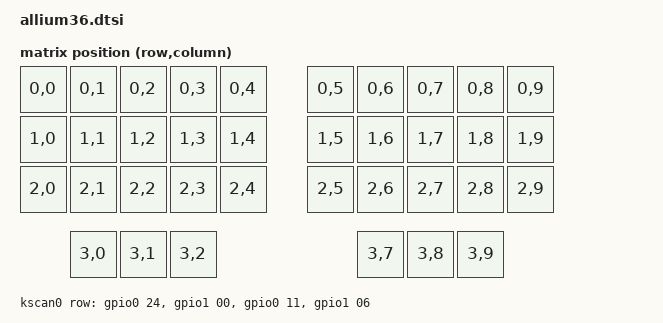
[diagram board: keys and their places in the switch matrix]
/*
 * Copyright (c) 2024
 *
 * SPDX-License-Identifier: MIT
 */

#include <dt-bindings/zmk/matrix_transform.h>
#include <physical_layouts.dtsi>

/ {
    chosen {
        zmk,kscan = &kscan0;
        zmk,physical-layout = &allium36_layout;
    };

    default_transform: keymap_transform_0 {
        compatible = "zmk,matrix-transform";
        columns = <10>;
        rows = <4>;
//   Left half (outer to inner)         Right half (inner to outer)
// | K1  | K2  | K3  | K4  | K5  |   | K6  | K7  | K8  | K9  | K10 |
// | K11 | K12 | K13 | K14 | K15 |   | K16 | K17 | K18 | K19 | K20 |
// | K21 | K22 | K23 | K24 | K25 |   | K26 | K27 | K28 | K29 | K30 |
// | K31 | K32 | K33 |              | K34 | K35 | K36 |
        map = <
RC(0,0) RC(0,1) RC(0,2) RC(0,3) RC(0,4)    RC(0,5) RC(0,6) RC(0,7) RC(0,8) RC(0,9)
RC(1,0) RC(1,1) RC(1,2) RC(1,3) RC(1,4)    RC(1,5) RC(1,6) RC(1,7) RC(1,8) RC(1,9)
RC(2,0) RC(2,1) RC(2,2) RC(2,3) RC(2,4)    RC(2,5) RC(2,6) RC(2,7) RC(2,8) RC(2,9)
RC(3,0) RC(3,1) RC(3,2)                     RC(3,9) RC(3,8) RC(3,7)
        >;
    };

    kscan0: kscan {
        compatible = "zmk,kscan-gpio-matrix";
        wakeup-source;
        diode-direction = "col2row";
        row-gpios
            = <&gpio0 24 (GPIO_ACTIVE_HIGH | GPIO_PULL_DOWN)>
             , <&gpio1 00 (GPIO_ACTIVE_HIGH | GPIO_PULL_DOWN)>
             , <&gpio0 11 (GPIO_ACTIVE_HIGH | GPIO_PULL_DOWN)>
             , <&gpio1 06 (GPIO_ACTIVE_HIGH | GPIO_PULL_DOWN)>
            ;
    };

    allium36_layout: allium36_layout {
        compatible = "zmk,physical-layout";
        display-name = "Default";
        keys  //                     w   h    x    y     rot    rx    ry
            = <&key_physical_attrs 100 100    0    0       0     0     0>
            , <&key_physical_attrs 100 100  100    0       0     0     0>
            , <&key_physical_attrs 100 100  200    0       0     0     0>
            , <&key_physical_attrs 100 100  300    0       0     0     0>
            , <&key_physical_attrs 100 100  400    0       0     0     0>
            , <&key_physical_attrs 100 100  575    0       0     0     0>
            , <&key_physical_attrs 100 100  675    0       0     0     0>
            , <&key_physical_attrs 100 100  775    0       0     0     0>
            , <&key_physical_attrs 100 100  875    0       0     0     0>
            , <&key_physical_attrs 100 100  975    0       0     0     0>
            , <&key_physical_attrs 100 100    0  100       0     0     0>
            , <&key_physical_attrs 100 100  100  100       0     0     0>
            , <&key_physical_attrs 100 100  200  100       0     0     0>
            , <&key_physical_attrs 100 100  300  100       0     0     0>
            , <&key_physical_attrs 100 100  400  100       0     0     0>
            , <&key_physical_attrs 100 100  575  100       0     0     0>
            , <&key_physical_attrs 100 100  675  100       0     0     0>
            , <&key_physical_attrs 100 100  775  100       0     0     0>
            , <&key_physical_attrs 100 100  875  100       0     0     0>
            , <&key_physical_attrs 100 100  975  100       0     0     0>
            , <&key_physical_attrs 100 100    0  200       0     0     0>
            , <&key_physical_attrs 100 100  100  200       0     0     0>
            , <&key_physical_attrs 100 100  200  200       0     0     0>
            , <&key_physical_attrs 100 100  300  200       0     0     0>
            , <&key_physical_attrs 100 100  400  200       0     0     0>
            , <&key_physical_attrs 100 100  575  200       0     0     0>
            , <&key_physical_attrs 100 100  675  200       0     0     0>
            , <&key_physical_attrs 100 100  775  200       0     0     0>
            , <&key_physical_attrs 100 100  875  200       0     0     0>
            , <&key_physical_attrs 100 100  975  200       0     0     0>
            , <&key_physical_attrs 100 100  100  330       0     0     0>
            , <&key_physical_attrs 100 100  200  330       0     0     0>
            , <&key_physical_attrs 100 100  300  330       0     0     0>
            , <&key_physical_attrs 100 100  875  330       0     0     0>
            , <&key_physical_attrs 100 100  775  330       0     0     0>
            , <&key_physical_attrs 100 100  675  330       0     0     0>
            ;
    };
};

&allium36_layout {
    transform = <&default_transform>;
    kscan = <&kscan0>;
};
